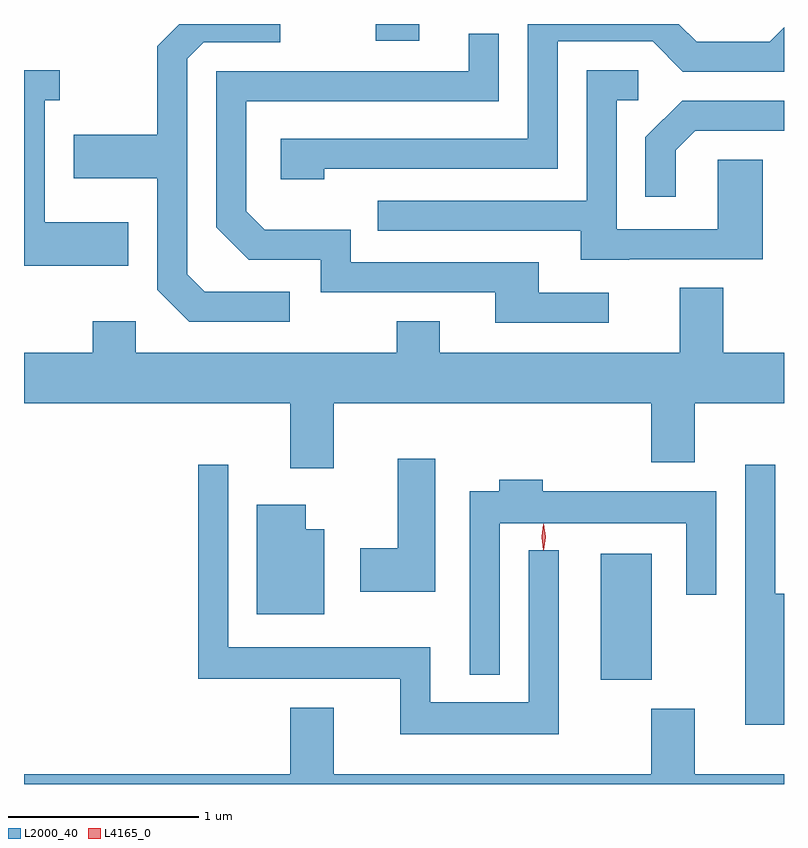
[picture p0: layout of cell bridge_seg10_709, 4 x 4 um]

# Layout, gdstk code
import gdstk
lib = gdstk.Library(unit=1e-6, precision=1e-09)
def R(c, l, rs):  # rectangles x0, y0, x1, y1
    for r in rs: c.add(gdstk.rectangle(r[:2], r[2:], *l))
def P(c, l, *ps):  # polygons
    for p in ps: c.add(gdstk.Polygon(p, *l))
L2000_40 = (2000, 40)
L4165_0 = (4165, 0)

bridge_seg10_709 = lib.new_cell('bridge_seg10_709')
R(bridge_seg10_709, L2000_40, [(1043.316,2132.441,1043.584,2133.104), (1042.131,2135.806,1042.359,2135.893)])
P(bridge_seg10_709, L2000_40, [(1041.678,2134.484),(1041.232,2134.484),(1041.139,2134.577),(1041.139,2135.709),(1041.227,2135.796),(1041.628,2135.796),(1041.628,2135.893),(1041.098,2135.893),(1040.981,2135.777),(1040.981,2135.309),(1040.541,2135.309),(1040.541,2135.081),(1040.981,2135.081),(1040.981,2134.494),(1041.149,2134.326),(1041.678,2134.326)],
  [(1041.859,2135.131),(1043.089,2135.131),(1043.089,2135.801),(1043.589,2135.801),(1043.748,2135.641),(1044.28,2135.641),(1044.28,2135.875),(1044.204,2135.799),(1043.822,2135.799),(1043.727,2135.893),(1042.931,2135.893),(1042.931,2135.289),(1041.631,2135.289),(1041.631,2135.076),(1041.859,2135.076)],
  [(1043.358,2134.479),(1042.989,2134.479),(1042.989,2134.639),(1041.999,2134.639),(1041.999,2134.809),(1041.546,2134.809),(1041.449,2134.907),(1041.449,2135.486),(1042.779,2135.486),(1042.779,2135.843),(1042.621,2135.843),(1042.621,2135.644),(1041.291,2135.644),(1041.291,2134.824),(1041.464,2134.651),(1041.841,2134.651),(1041.841,2134.481),(1042.761,2134.481),(1042.761,2134.321),(1043.358,2134.321)],
  [(1043.465,2134.656),(1044.169,2134.656),(1044.169,2135.179),(1043.931,2135.179),(1043.931,2134.814),(1043.399,2134.814),(1043.399,2135.491),(1043.513,2135.491),(1043.513,2135.649),(1043.241,2135.649),(1043.241,2134.964),(1042.142,2134.964),(1042.142,2134.806),(1043.211,2134.806),(1043.211,2134.651),(1043.465,2134.651)],
  [(1040.829,2134.849),(1040.389,2134.849),(1040.389,2135.491),(1040.468,2135.491),(1040.468,2135.649),(1040.28,2135.649),(1040.28,2134.621),(1040.829,2134.621)],
  [(1043.709,2135.229),(1043.812,2135.331),(1044.28,2135.331),(1044.28,2135.489),(1043.744,2135.489),(1043.551,2135.297),(1043.551,2134.983),(1043.709,2134.983)],
  [(1041.681,2133.556),(1041.909,2133.556),(1041.909,2133.896),(1043.581,2133.896),(1043.581,2133.586),(1043.809,2133.586),(1043.809,2133.896),(1044.28,2133.896),(1044.28,2134.164),(1043.959,2134.164),(1043.959,2134.504),(1043.731,2134.504),(1043.731,2134.164),(1042.469,2134.164),(1042.469,2134.329),(1042.241,2134.329),(1042.241,2134.164),(1040.869,2134.164),(1040.869,2134.329),(1040.641,2134.329),(1040.641,2134.164),(1040.28,2134.164),(1040.28,2133.896),(1041.681,2133.896)],
  [(1042.444,2133.604),(1042.246,2133.604),(1042.246,2133.134),(1042.051,2133.134),(1042.051,2132.906),(1042.444,2132.906)],
  [(1044.28,2132.894),(1044.234,2132.894),(1044.234,2133.573),(1044.076,2133.573),(1044.076,2132.206),(1044.28,2132.206)],
  [(1043.094,2133.123),(1042.936,2133.123),(1042.936,2132.324),(1042.419,2132.324),(1042.419,2132.614),(1041.354,2132.614),(1041.354,2133.573),(1041.196,2133.573),(1041.196,2132.446),(1042.261,2132.446),(1042.261,2132.156),(1043.094,2132.156)],
  [(1042.784,2133.266),(1043.766,2133.266),(1043.766,2132.888),(1043.924,2132.888),(1043.924,2133.434),(1043.009,2133.434),(1043.009,2133.494),(1042.781,2133.494),(1042.781,2133.434),(1042.626,2133.434),(1042.626,2132.468),(1042.784,2132.468)],
  [(1041.859,2133.234),(1041.764,2133.234),(1041.764,2133.364),(1041.506,2133.364),(1041.506,2132.786),(1041.859,2132.786)],
  [(1044.28,2131.944),(1043.809,2131.944),(1043.809,2132.289),(1043.581,2132.289),(1043.581,2131.944),(1041.909,2131.944),(1041.909,2132.294),(1041.681,2132.294),(1041.681,2131.944),(1040.28,2131.944),(1040.28,2131.893),(1044.28,2131.893)])
P(bridge_seg10_709, L4165_0, [(1043.015,2133.127),(1043.014,2133.128),(1043.005,2133.194),(1043.014,2133.26),(1043.015,2133.261),(1043.015,2133.26),(1043.025,2133.194),(1043.015,2133.128)],
  [(1043.014,2133.124),(1043.005,2133.193),(1043.015,2133.262),(1043.016,2133.263),(1043.016,2133.262),(1043.025,2133.193),(1043.015,2133.124),(1043.015,2133.124)])

lib.write_gds('bridge_seg10_709.gds')
